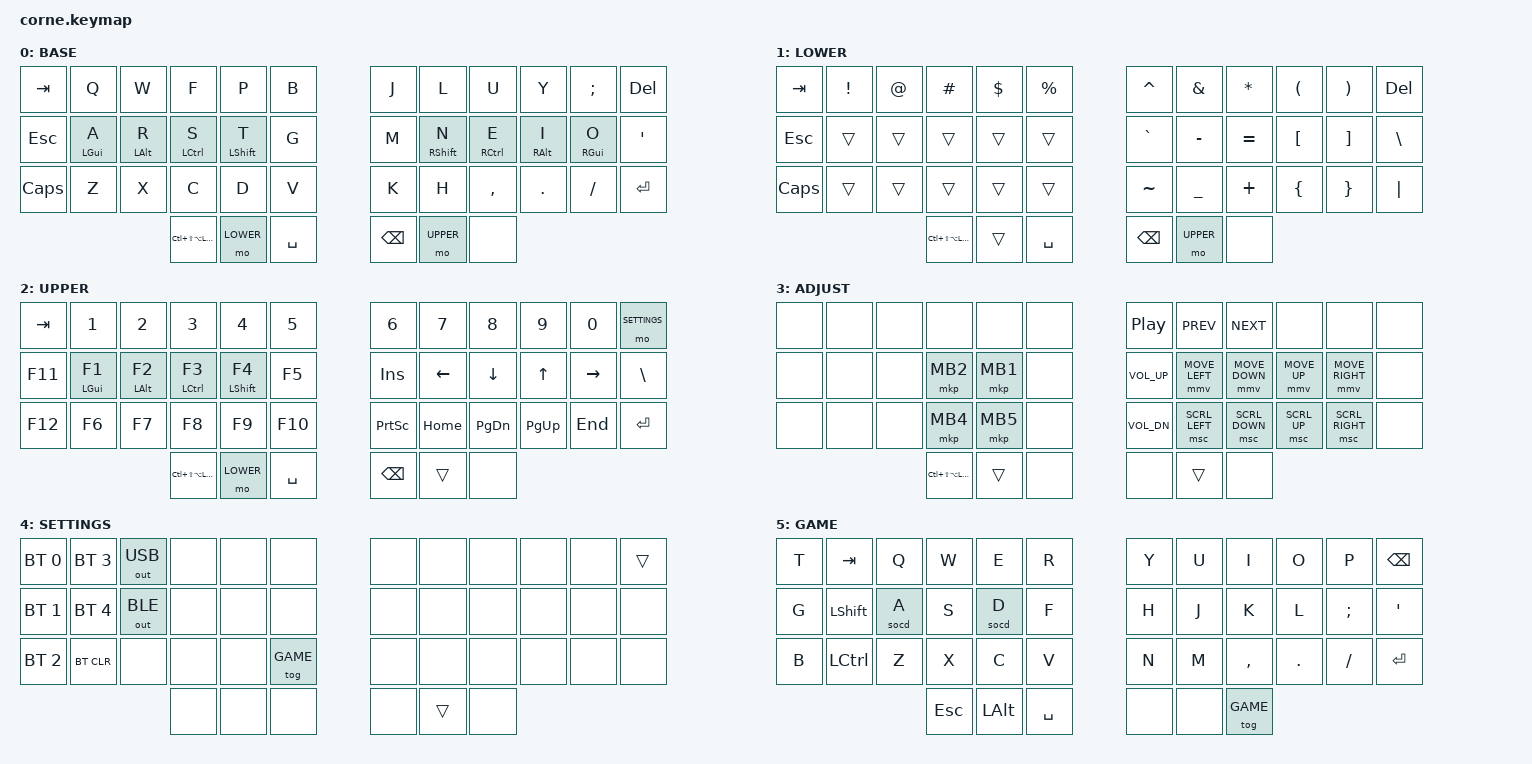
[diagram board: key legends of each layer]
/*
 * Copyright (c) 2020 The ZMK Contributors
 *
 * SPDX-License-Identifier: MIT
 */

#include <behaviors.dtsi>
#include <behaviors/socd.dtsi>
#include <dt-bindings/zmk/keys.h>
#include <dt-bindings/zmk/bt.h>
#include <dt-bindings/zmk/outputs.h>
#include <dt-bindings/zmk/mouse.h>

// Mouse settings
#define ZMK_POINTING_DEFAULT_MOVE_VAL 1500  // default: 600
#define ZMK_POINTING_DEFAULT_SCRL_VAL 20    // default: 10
#include <dt-bindings/zmk/pointing.h>

// Layers
#define BASE 0
#define LOWER 1
#define UPPER 2
#define ADJUST 3
#define SETTINGS 4
#define GAME 5

// Hyper = Ctrl+Shift+Alt+GUI
#define HYPER LC(LS(LA(LGUI)))

// Custom Behaviors
/ {
    behaviors {      
        hm: home_row_mod {
            compatible = "zmk,behavior-hold-tap";
            #binding-cells = <2>;
            flavor = "tap-preferred";
            tapping-term-ms = <200>;
            quick-tap-ms = <200>;
            require-prior-idle-ms = <125>;
            bindings = <&kp>, <&kp>;
        };
    };
};

/ {
    conditional_layers {
        compatible = "zmk,conditional-layers";
        adjust_tri_layer {
            if-layers = <LOWER UPPER>;
            then-layer = <ADJUST>;
        };
    };
};

/ {
   keymap {
      compatible = "zmk,keymap";

/* Base
* ,-----------------------------------------------------------------------------------.  ,-----------------------------------------------------------------------------------.
* |     Tab     |      Q      |      W      |      F      |      P      |      B      |  |      J      |      L      |      U      |      Y      |      ;      |     Del     |
* |-------------+-------------+-------------+-------------+-------------+-------------|  |-------------+-------------+-------------+-------------+-------------+-------------|
* |     Esc     |   A LGUI    |   R LALT    |   S LCTL    |   T LSFT    |      G      |  |      M      |   N RSFT    |   E RCTL    |   I RALT    |   O RGUI    |     ""      |
* |-------------+-------------+-------------+-------------+-------------+-------------|  |-------------+-------------+-------------+-------------+-------------+-------------|
* |    CAPS     |      Z      |     X       |      C      |      D      |      V      |  |      K      |      H      |      ,      |      .      |      /      |    Enter    |
* `-------------+-------------+-------------+-------------+-------------+-------------|  |-------------+-------------+-------------+-------------+-------------+-------------'
*                                           |    Hyper    |    Lower    |    Space    |  |    Bksp     |    Upper    |             |
*                                           `-----------------------------------------'  `-----------------------------------------'
*/
      base_layer {
         label = "BASE";
         bindings = <
   &kp TAB       &kp Q         &kp W         &kp F          &kp P          &kp B          &kp J         &kp L         &kp U         &kp Y         &kp SEMI      &kp DEL
   &kp ESC       &hm LGUI A    &hm LALT R    &hm LCTRL S    &hm LSHFT T    &kp G          &kp M         &hm RSHFT N   &hm RCTRL E   &hm RALT I    &hm RGUI O    &kp SQT
   &kp CAPS      &kp Z         &kp X         &kp C          &kp D          &kp V          &kp K         &kp H         &kp COMMA     &kp DOT       &kp FSLH      &kp ENTER
                                             &kp HYPER      &mo LOWER      &kp SPACE      &kp BSPC      &mo UPPER     &none
         >;
      };


/* Lower
* ,-----------------------------------------------------------------------------------.  ,-----------------------------------------------------------------------------------.
* |     Tab     |      !      |      @      |      #      |      $      |      %      |  |      ^      |      &      |      *      |      (      |      )      |     Del     |
* |-------------+-------------+-------------+-------------+-------------+-------------|  |-------------+-------------+-------------+-------------+-------------+-------------|
* |     Esc     |             |             |             |             |             |  |      `      |      -      |      =      |      [      |      ]      |      \      |
* |-------------+-------------+-------------+-------------+-------------+-------------|  |-------------+-------------+-------------+-------------+-------------+-------------|
* |    CAPS     |             |             |             |             |             |  |      ~      |      _      |      +      |      {      |      }      |      |      |
* `-------------+-------------+-------------+-------------+-------------+-------------|  |-------------+-------------+-------------+-------------+-------------+-------------'
*                                           |    Hyper    |    Trans    |    Space    |  |    Bksp     |    Upper    |             |
*                                           `-----------------------------------------'  `-----------------------------------------'
*/
      lower_layer {
         label = "LOWER";
         bindings = <
   &kp TAB       &kp EXCL      &kp AT        &kp HASH       &kp DOLLAR     &kp PERCENT    &kp CARET     &kp AMPS      &kp STAR      &kp LPAR      &kp RPAR      &kp DEL
   &kp ESC       &trans        &trans        &trans         &trans         &trans         &kp GRAVE     &kp MINUS     &kp EQUAL     &kp LBKT      &kp RBKT      &kp BSLH
   &kp CAPS      &trans        &trans        &trans         &trans         &trans         &kp TILDE     &kp UNDER     &kp PLUS      &kp LBRC      &kp RBRC      &kp PIPE
                                             &kp HYPER      &trans         &kp SPACE      &kp BSPC      &mo UPPER     &none
         >;
      };

/* Upper
* ,-----------------------------------------------------------------------------------.  ,-----------------------------------------------------------------------------------.
* |     Tab     |      1      |      2      |      3      |      4      |      5      |  |      6      |      7      |      8      |      9      |      0      |  SETTINGS   |
* |-------------+-------------+-------------+-------------+-------------+-------------|  |-------------+-------------+-------------+-------------+-------------+-------------|
* |     F11     |   F1 LGUI   |   F2 LALT   |   F3 LCTL   |   F4 LSFT   |     F5      |  |     Ins     |    Left     |    Down     |     Up      |    Right    |      \      |
* |-------------+-------------+-------------+-------------+-------------+-------------|  |-------------+-------------+-------------+-------------+-------------+-------------|
* |     F12     |     F6      |     F7      |     F8      |     F9      |     F10     |  |   PrntScrn  |    Home     |   Pg Down   |    Pg Up    |     End     |    Enter    |
* `-------------+-------------+-------------+-------------+-------------+-------------|  |-------------+-------------+-------------+-------------+-------------+-------------'
*                                           |    Hyper    |    Lower    |    Space    |  |    Bksp     |    Trans    |             |
*                                           `-----------------------------------------'  `-----------------------------------------'
*/

      upper_layer {
         label = "UPPER";
         bindings = <
   &kp TAB       &kp N1        &kp N2        &kp N3         &kp N4         &kp N5         &kp N6        &kp N7        &kp N8        &kp N9        &kp N0        &mo SETTINGS
   &kp F11       &hm LGUI F1   &hm LALT F2   &hm LCTRL F3   &hm LSHFT F4   &kp F5         &kp INS       &kp LEFT      &kp DOWN      &kp UP        &kp RIGHT     &kp BSLH
   &kp F12       &kp F6        &kp F7        &kp F8         &kp F9         &kp F10        &kp PSCRN     &kp HOME      &kp PG_DN     &kp PG_UP     &kp END       &kp ENTER
                                             &kp HYPER      &mo LOWER      &kp SPACE      &kp BSPC      &trans        &none
         >;
      };


/* Adjust 
* ,-----------------------------------------------------------------------------------.  ,-----------------------------------------------------------------------------------.
* |             |             |             |             |             |             |  |    Play     |    Prev     |    Next     |             |             |             |
* |-------------+-------------+-------------+-------------+-------------+-------------|  |-------------+-------------+-------------+-------------+-------------+-------------|
* |             |             |             |   Mouse2    |   Mouse1    |             |  |    Vol+     |   Ms Left   |   Ms Down   |    Ms Up    |  Ms Right   |             |
* |-------------+-------------+-------------+-------------+-------------+-------------|  |-------------+-------------+-------------+-------------+-------------+-------------|
* |             |             |             |   Mouse4    |   Mouse5    |             |  |    Vol-     |   MsWl L    |   MsWl D    |   MsWl U    |   MsWl R    |             |
* `-------------+-------------+-------------+-------------+-------------+-------------|  |-------------+-------------+-------------+-------------+-------------+-------------'
*                                           |    Hyper    |    Trans    |             |  |             |    Trans    |             |
*                                           `-----------------------------------------'  `-----------------------------------------'
*/
      adjust_layer {
         label = "ADJUST";
         bindings = <
   &none         &none         &none         &none          &none          &none          &kp C_PP      &kp C_PREV    &kp C_NEXT    &none         &none         &none
   &none         &none         &none         &mkp MB2       &mkp MB1       &none          &kp C_VOL_UP  &mmv MOVE_LEFT &mmv MOVE_DOWN &mmv MOVE_UP &mmv MOVE_RIGHT &none
   &none         &none         &none         &mkp MB4       &mkp MB5       &none          &kp C_VOL_DN  &msc SCRL_LEFT &msc SCRL_DOWN &msc SCRL_UP &msc SCRL_RIGHT &none
                                             &kp HYPER      &trans         &none          &none         &trans        &none
         >;
      };

/* Settings
* BT 0 = Windows Desktop
* BT 1 = Personal MBA
* BT 2 = Work MBP
* BT 3 =
* BT 4 =
* ,-----------------------------------------------------------------------------------.  ,-----------------------------------------------------------------------------------.
* |     BT 0    |     BT 3    |     USB     |             |             |             |  |             |             |             |             |             |    Trans    |
* |-------------+-------------+-------------+-------------+-------------+-------------|  |-------------+-------------+-------------+-------------+-------------+-------------|
* |     BT 1    |     BT 4    |     BLE     |             |             |             |  |             |             |             |             |             |             |
* |-------------+-------------+-------------+-------------+-------------+-------------|  |-------------+-------------+-------------+-------------+-------------+-------------|
* |     BT 2    |   BT CLR    |             |             |             |  TG(GAME)   |  |             |             |             |             |             |             |
* `-------------+-------------+-------------+-------------+-------------+-------------|  |-------------+-------------+-------------+-------------+-------------+-------------'
*                                           |             |             |             |  |             |    Trans    |             |
*                                           `-----------------------------------------'  `-----------------------------------------'
*/
      settings_layer {
         label = "SETTINGS";
         bindings = <
   &bt BT_SEL 0  &bt BT_SEL 3  &out OUT_USB  &none         &none         &none            &none         &none         &none         &none         &none         &trans
   &bt BT_SEL 1  &bt BT_SEL 4  &out OUT_BLE  &none         &none         &none            &none         &none         &none         &none         &none         &none
   &bt BT_SEL 2  &bt BT_CLR    &none         &none         &none         &tog GAME        &none         &none         &none         &none         &none         &none
                                             &none         &none         &none            &none         &trans        &none
         >;
      };
        
/* Game
* ,-----------------------------------------------------------------------------------.  ,-----------------------------------------------------------------------------------.
* |      T      |     Tab     |      Q      |      W      |      E      |      R      |  |      Y      |      U      |      I      |      O      |      P      |    Bksp     |
* |-------------+-------------+-------------+-------------+-------------+-------------|  |-------------+-------------+-------------+-------------+-------------+-------------|
* |      G      |    Shift    |      A      |      S      |      D      |      F      |  |      H      |      J      |      K      |      L      |      ;      |     ""      |
* |-------------+-------------+-------------+-------------+-------------+-------------|  |-------------+-------------+-------------+-------------+-------------+-------------|
* |      B      |    Ctrl     |      Z      |      X      |      C      |      V      |  |      N      |      M      |      ,      |      .      |      /      |    Enter    |
* `-------------+-------------+-------------+-------------+-------------+-------------|  |-------------+-------------+-------------+-------------+-------------+-------------'
*                                           |     Esc     |     Alt     |    Space    |  |             |             |  TG(GAME)   |
*                                           `-----------------------------------------'  `-----------------------------------------'
*/
      game_layer {
         label = "GAME";
         bindings = <
   &kp T         &kp TAB       &kp Q         &kp W          &kp E          &kp R          &kp Y         &kp U         &kp I         &kp O         &kp P         &kp BSPC
   &kp G         &kp LSHFT     &socd A       &kp S          &socd D        &kp F          &kp H         &kp J         &kp K         &kp L         &kp SEMI      &kp SQT
   &kp B         &kp LCTRL     &kp Z         &kp X          &kp C          &kp V          &kp N         &kp M         &kp COMMA     &kp DOT       &kp FSLH      &kp ENTER
                                             &kp ESC        &kp LALT       &kp SPACE      &none         &none         &tog GAME
         >;
      };
   };
};

